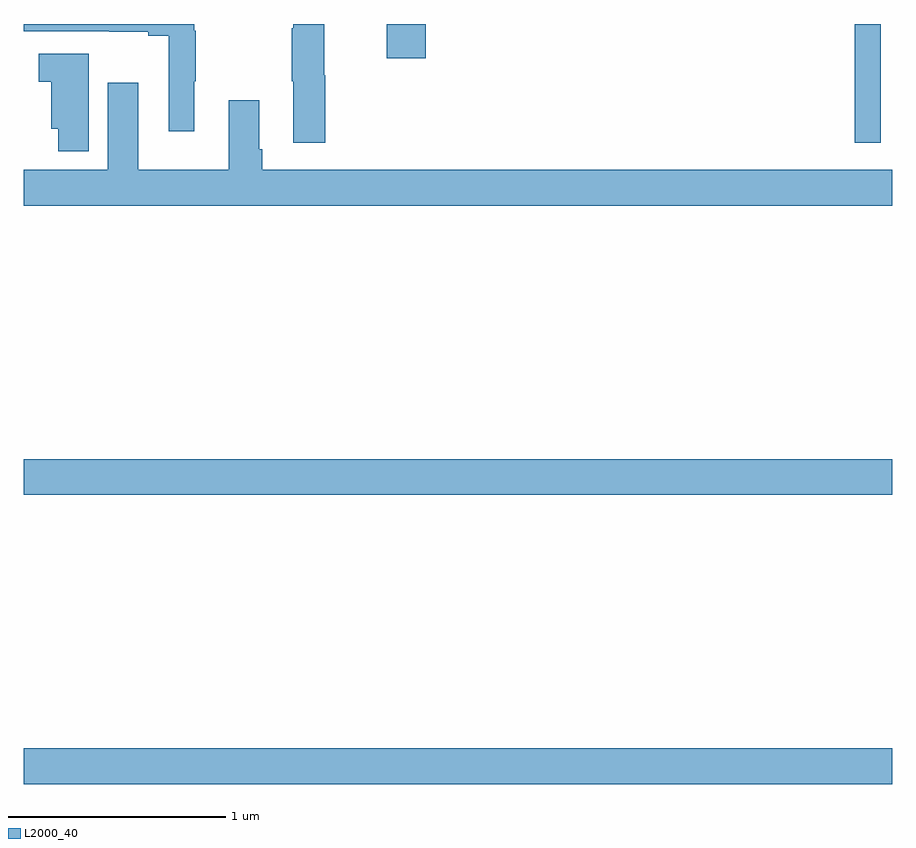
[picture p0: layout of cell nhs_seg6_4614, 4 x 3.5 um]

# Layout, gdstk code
import gdstk
lib = gdstk.Library(unit=1e-6, precision=1e-09)
def R(c, l, rs):  # rectangles x0, y0, x1, y1
    for r in rs: c.add(gdstk.rectangle(r[:2], r[2:], *l))
def P(c, l, *ps):  # polygons
    for p in ps: c.add(gdstk.Polygon(p, *l))
L2000_40 = (2000, 40)

nhs_seg6_4614 = lib.new_cell('nhs_seg6_4614')
R(nhs_seg6_4614, L2000_40, [(383,950,387,950.164), (383,951.332,387,951.496), (386.826,952.953,386.947,953.5), (384.673,953.343,384.851,953.5)])
P(nhs_seg6_4614, L2000_40, [(384.389,953.265),(384.384,953.265),(384.384,953.5),(384.242,953.5),(384.242,953.48),(384.235,953.48),(384.235,953.236),(384.242,953.236),(384.242,952.953),(384.389,952.953)],
  [(383.785,953.236),(383.793,953.236),(383.793,953.469),(383.785,953.469),(383.785,953.5),(383,953.5),(383,953.466),(383.395,953.466),(383.395,953.464),(383.573,953.464),(383.573,953.446),(383.669,953.446),(383.669,953.007),(383.785,953.007)],
  [(383.299,953.362),(383.07,953.362),(383.07,953.233),(383.126,953.233),(383.126,953.018),(383.159,953.018),(383.159,952.913),(383.299,952.913)],
  [(387,952.828),(384.098,952.828),(384.098,952.924),(384.085,952.924),(384.085,953.149),(383.945,953.149),(383.945,952.828),(383.527,952.828),(383.527,953.23),(383.387,953.23),(383.387,952.828),(383,952.828),(383,952.664),(387,952.664)])

lib.write_gds('nhs_seg6_4614.gds')
